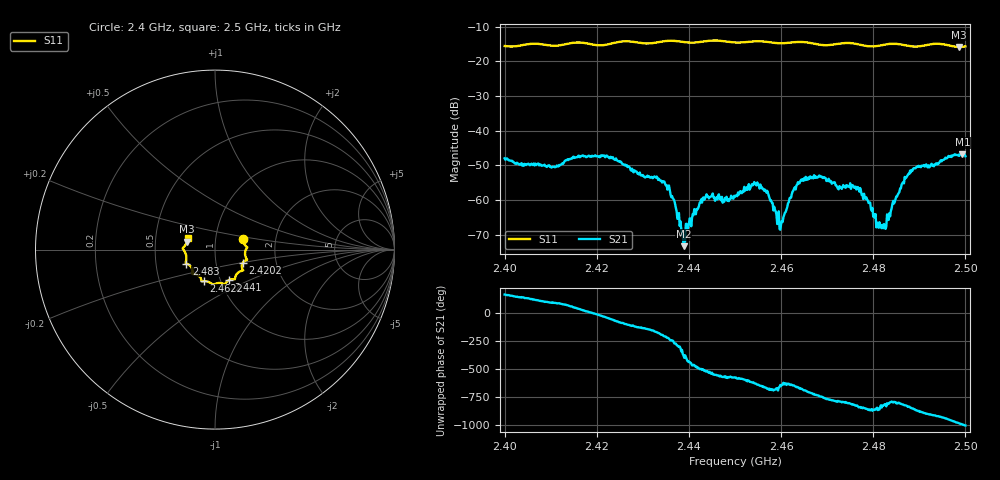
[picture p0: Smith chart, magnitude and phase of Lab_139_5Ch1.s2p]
# Hz S RI R 50
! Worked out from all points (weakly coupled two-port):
!   601 points, 2.4 GHz to 2.5 GHz, reference 50 ohm
!   highest |S21| = -46.74 dB at 2.4993 GHz (marker M1); lowest = -73.3 dB at 2.4388 GHz (marker M2)
!   lowest |S11| = -15.8 dB at 2.4987 GHz (marker M3), VSWR 1.39, Z = 36.4 + j3.33 ohm
!   |S11| at or under -10 dB: start of sweep to end of sweep
!   S12 and S22 are empty: the file has one direction only
!   S11 on the Smith chart (normalised r, x): 2.4 GHz: 1.36, +0.17; 2.4202 GHz: 1.35, -0.20; 2.441 GHz: 1.09, -0.39; 2.4622 GHz: 0.83, -0.30; 2.483 GHz: 0.72, -0.12; 2.5 GHz: 0.73, +0.09
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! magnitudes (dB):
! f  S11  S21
! 2.4 GHz  -15.5  -48.0
! 2.4107 GHz  -15.5  -50.4
! 2.4167 GHz  -14.6  -47.3
! 2.4202 GHz  -15.3  -47.3
! 2.4333 GHz  -14.4  -54.2
! 2.4362 GHz  -14.0  -59.1
! 2.4388 GHz  -14.4  -73.3
! 2.441 GHz  -14.6  -64.3
! 2.4435 GHz  -14.2  -59.5
! 2.45 GHz  -14.5  -59.0
! 2.4547 GHz  -14.2  -55.8
! 2.4602 GHz  -14.8  -66.0
! 2.4622 GHz  -14.5  -59.3
! 2.4667 GHz  -14.7  -53.7
! 2.4767 GHz  -15.0  -56.2
! 2.4812 GHz  -15.5  -68.0
! 2.483 GHz  -15.0  -64.1
! 2.4833 GHz  -15.0  -65.7
! 2.4885 GHz  -15.7  -51.5
! 2.4987 GHz  -15.8  -47.2
! 2.4993 GHz  -15.8  -46.7
! 2.5 GHz  -15.6  -47.4
